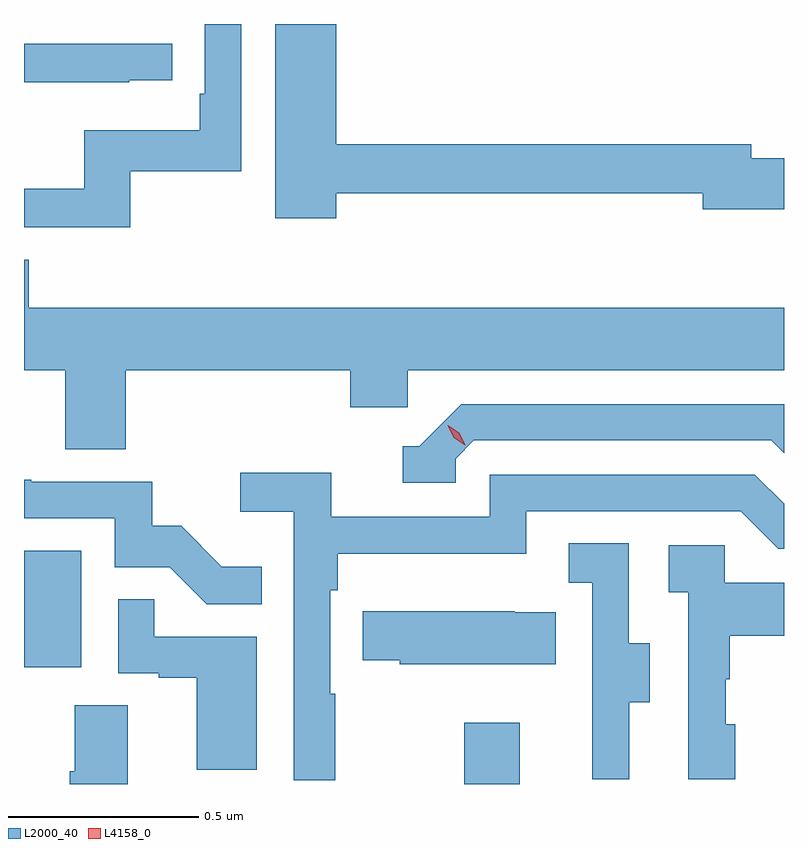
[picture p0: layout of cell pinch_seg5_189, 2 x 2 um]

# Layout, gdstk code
import gdstk
lib = gdstk.Library(unit=1e-6, precision=1e-09)
def R(c, l, rs):  # rectangles x0, y0, x1, y1
    for r in rs: c.add(gdstk.rectangle(r[:2], r[2:], *l))
def P(c, l, *ps):  # polygons
    for p in ps: c.add(gdstk.Polygon(p, *l))
L2000_40 = (2000, 40)
L4158_0 = (4158, 0)

pinch_seg5_189 = lib.new_cell('pinch_seg5_189')
R(pinch_seg5_189, L2000_40, [(1121.536,886.307,1121.683,886.468), (1120.378,886.614,1120.528,886.921)])
P(pinch_seg5_189, L2000_40, [(1120.657,887.919),(1120.95,887.919),(1120.95,888.307),(1120.854,888.307),(1120.854,888.124),(1120.841,888.124),(1120.841,888.028),(1120.536,888.028),(1120.536,887.873),(1120.378,887.873),(1120.378,887.772),(1120.657,887.772)],
  [(1121.2,887.862),(1122.164,887.862),(1122.164,887.819),(1122.378,887.819),(1122.378,887.954),(1122.292,887.954),(1122.292,887.99),(1121.2,887.99),(1121.2,888.307),(1121.039,888.307),(1121.039,887.796),(1121.2,887.796)],
  [(1120.655,888.159),(1120.768,888.159),(1120.768,888.255),(1120.378,888.255),(1120.378,888.154),(1120.655,888.154)],
  [(1120.646,887.396),(1121.237,887.396),(1121.237,887.298),(1121.388,887.298),(1121.388,887.396),(1122.378,887.396),(1122.378,887.56),(1120.391,887.56),(1120.391,887.687),(1120.378,887.687),(1120.378,887.396),(1120.486,887.396),(1120.486,887.188),(1120.646,887.188)],
  [(1121.514,887.163),(1121.562,887.211),(1122.345,887.211),(1122.378,887.178),(1122.378,887.307),(1121.529,887.307),(1121.418,887.196),(1121.375,887.196),(1121.375,887.1),(1121.514,887.1)],
  [(1121.197,886.544),(1121.184,886.544),(1121.184,886.817),(1121.204,886.817),(1121.204,886.913),(1121.7,886.913),(1121.7,887.025),(1122.264,887.025),(1122.363,886.926),(1122.378,886.926),(1122.378,887.044),(1122.301,887.121),(1121.604,887.121),(1121.604,887.01),(1121.186,887.01),(1121.186,887.126),(1120.947,887.126),(1120.947,887.024),(1121.088,887.024),(1121.088,886.317),(1121.197,886.317)],
  [(1121.003,886.879),(1120.899,886.879),(1120.792,886.986),(1120.716,886.986),(1120.716,887.103),(1120.397,887.103),(1120.397,887.108),(1120.378,887.108),(1120.378,887.007),(1120.617,887.007),(1120.617,886.878),(1120.761,886.878),(1120.859,886.78),(1121.003,886.78)],
  [(1121.971,886.522),(1122.025,886.522),(1122.025,886.677),(1121.97,886.677),(1121.97,886.94),(1121.811,886.94),(1121.811,886.837),(1121.874,886.837),(1121.874,886.533),(1121.873,886.533),(1121.873,886.32),(1121.971,886.32)],
  [(1122.25,886.464),(1122.225,886.464),(1122.225,886.583),(1122.235,886.583),(1122.235,886.697),(1122.378,886.697),(1122.378,886.837),(1122.222,886.837),(1122.222,886.935),(1122.075,886.935),(1122.075,886.811),(1122.126,886.811),(1122.126,886.32),(1122.25,886.32)],
  [(1120.99,886.695),(1120.721,886.695),(1120.721,886.793),(1120.626,886.793),(1120.626,886.599),(1120.733,886.599),(1120.733,886.587),(1120.832,886.587),(1120.832,886.344),(1120.99,886.344)],
  [(1121.777,886.759),(1121.669,886.759),(1121.669,886.762),(1121.269,886.762),(1121.269,886.633),(1121.367,886.633),(1121.367,886.622),(1121.777,886.622)],
  [(1120.651,886.514),(1120.511,886.514),(1120.511,886.34),(1120.499,886.34),(1120.499,886.307),(1120.651,886.307)])
P(pinch_seg5_189, L4158_0, [(1121.539,887.198),(1121.509,887.218),(1121.493,887.251),(1121.493,887.251),(1121.493,887.251),(1121.524,887.231),(1121.539,887.198),(1121.539,887.198)])

lib.write_gds('pinch_seg5_189.gds')
